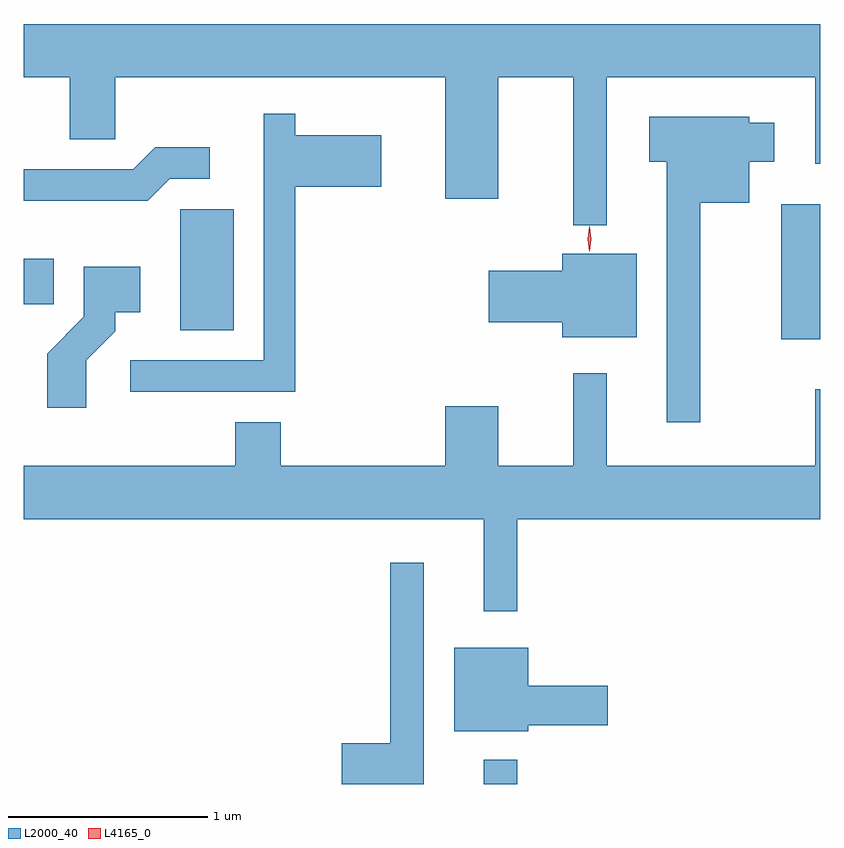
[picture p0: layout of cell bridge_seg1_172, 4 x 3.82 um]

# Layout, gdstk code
import gdstk
lib = gdstk.Library(unit=1e-6, precision=1e-09)
def R(c, l, rs):  # rectangles x0, y0, x1, y1
    for r in rs: c.add(gdstk.rectangle(r[:2], r[2:], *l))
def P(c, l, *ps):  # polygons
    for p in ps: c.add(gdstk.Polygon(p, *l))
L2000_40 = (2000, 40)
L4165_0 = (4165, 0)

bridge_seg1_172 = lib.new_cell('bridge_seg1_172')
R(bridge_seg1_172, L2000_40, [(694.791,929.325,694.959,929.448), (696.286,931.561,696.48,932.239), (693.266,931.606,693.534,932.214), (692.48,931.736,692.629,931.964)])
P(bridge_seg1_172, L2000_40, [(695.409,932.876),(696.456,932.876),(696.456,932.443),(696.48,932.443),(696.48,933.144),(692.48,933.144),(692.48,932.876),(692.711,932.876),(692.711,932.566),(692.939,932.566),(692.939,932.876),(694.596,932.876),(694.596,932.266),(694.864,932.266),(694.864,932.876),(695.241,932.876),(695.241,932.133),(695.409,932.133)],
  [(693.844,932.326),(694.274,932.326),(694.274,932.584),(693.844,932.584),(693.844,932.693),(693.686,932.693),(693.686,931.454),(693.013,931.454),(693.013,931.296),(693.844,931.296)],
  [(695.879,932.246),(696.124,932.246),(696.124,932.451),(696.249,932.451),(696.249,932.649),(696.124,932.649),(696.124,932.679),(695.621,932.679),(695.621,932.451),(695.711,932.451),(695.711,931.143),(695.879,931.143)],
  [(693.212,932.366),(693.413,932.366),(693.413,932.524),(693.139,932.524),(693.029,932.414),(692.48,932.414),(692.48,932.256),(693.102,932.256)],
  [(695.559,931.989),(695.186,931.989),(695.186,931.904),(694.816,931.904),(694.816,931.646),(695.186,931.646),(695.186,931.571),(695.559,931.571)],
  [(692.794,931.454),(692.939,931.599),(692.939,931.696),(693.064,931.696),(693.064,931.924),(692.781,931.924),(692.781,931.672),(692.596,931.487),(692.596,931.216),(692.794,931.216)],
  [(694.959,930.656),(696.48,930.656),(696.48,931.308),(696.456,931.308),(696.456,930.924),(695.409,930.924),(695.409,931.388),(695.241,931.388),(695.241,930.924),(694.864,930.924),(694.864,931.224),(694.596,931.224),(694.596,930.924),(693.769,930.924),(693.769,931.144),(693.541,931.144),(693.541,930.924),(692.48,930.924),(692.48,930.656),(694.791,930.656),(694.791,930.193),(694.959,930.193)],
  [(694.489,930.438),(694.321,930.438),(694.321,929.529),(694.076,929.529),(694.076,929.325),(694.489,929.325)],
  [(695.014,929.621),(695.414,929.621),(695.414,929.819),(695.014,929.819),(695.014,930.009),(694.641,930.009),(694.641,929.591),(695.014,929.591)])
P(bridge_seg1_172, L4165_0, [(695.321,932.001),(695.321,932.002),(695.312,932.064),(695.321,932.126),(695.321,932.127),(695.322,932.126),(695.331,932.064),(695.322,932.002)])

lib.write_gds('bridge_seg1_172.gds')
